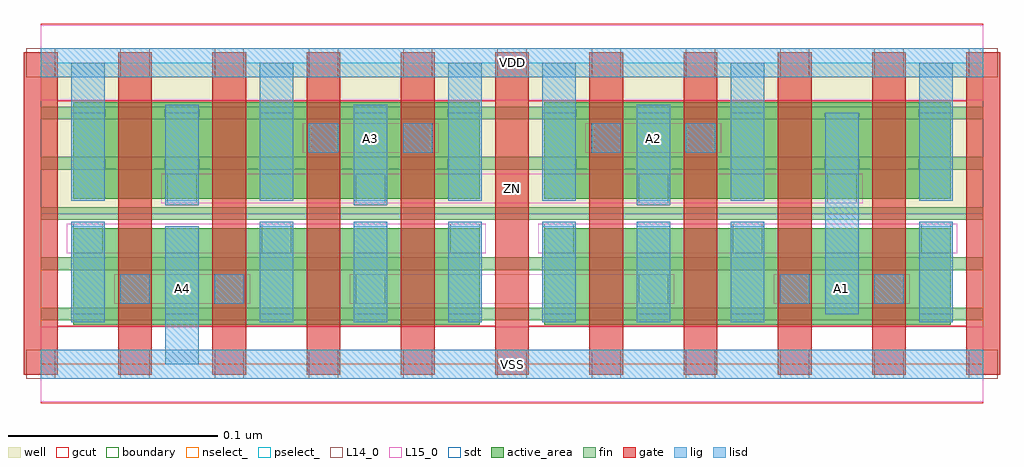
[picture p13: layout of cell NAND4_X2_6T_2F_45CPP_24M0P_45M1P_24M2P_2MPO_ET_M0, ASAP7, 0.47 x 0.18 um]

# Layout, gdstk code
import gdstk
lib = gdstk.Library(unit=1e-6, precision=2.5e-10)
def R(c, l, rs):  # rectangles x0, y0, x1, y1
    for r in rs: c.add(gdstk.rectangle(r[:2], r[2:], *l))
def A(c, l, x, y, w, h, nx, ny, dx, dy):  # array of equal rectangles
    R(c, l, [(x+i*dx, y+j*dy, x+i*dx+w, y+j*dy+h) for i in range(nx) for j in range(ny)])
well = (1, 0)
fin = (2, 0)
gate = (7, 0)
gcut = (10, 0)
active_area = (11, 0)
nselect_ = (12, 0)
pselect_ = (13, 0)
L14_0 = (14, 0)
L15_0 = (15, 0)
lig = (16, 0)
lisd = (17, 0)
sdt = (88, 0)
boundary = (100, 0)

nand4_x2_6t_2f_45cpp_24m = lib.new_cell('NAND4_X2_6T_2F_45CPP_24M0P_45M1P_24M2P_2MPO_ET_M0')
R(nand4_x2_6t_2f_45cpp_24m, well, [(0,0.072,0.45,0.144)])
A(nand4_x2_6t_2f_45cpp_24m, fin, 0, 0.021, 0.45, 0.006, 1, 5, 0, 0.024)
A(nand4_x2_6t_2f_45cpp_24m, gate, -0.008, -0.005, 0.016, 0.154, 11, 1, 0.045, 0)
A(nand4_x2_6t_2f_45cpp_24m, gcut, -0.008, -0.005, 0.016, 0.154, 3, 1, 0.225, 0)
R(nand4_x2_6t_2f_45cpp_24m, gcut, [(0,-0.0185,0.45,0.0185), (0,0.1255,0.45,0.1625)])
A(nand4_x2_6t_2f_45cpp_24m, active_area, 0.0155, 0.019, 0.059, 0.046, 4, 2, 0.045, 0.06)
A(nand4_x2_6t_2f_45cpp_24m, active_area, 0.2405, 0.019, 0.059, 0.046, 4, 2, 0.045, 0.06)
R(nand4_x2_6t_2f_45cpp_24m, nselect_, [(0,0,0.45,0.072)])
R(nand4_x2_6t_2f_45cpp_24m, pselect_, [(0,0.072,0.45,0.144)])
A(nand4_x2_6t_2f_45cpp_24m, L14_0, -0.007, -0.007, 0.014, 0.014, 11, 2, 0.045, 0.144)
A(nand4_x2_6t_2f_45cpp_24m, L14_0, 0.0155, 0.053, 0.014, 0.014, 3, 1, 0.09, 0)
A(nand4_x2_6t_2f_45cpp_24m, L14_0, 0.2405, 0.053, 0.014, 0.014, 3, 1, 0.09, 0)
R(nand4_x2_6t_2f_45cpp_24m, L14_0, [(0.038,0.029,0.052,0.043), (0.083,0.029,0.097,0.043), (0.1505,0.029,0.1645,0.043), (0.2855,0.029,0.2995,0.043), (0.353,0.029,0.367,0.043), (0.398,0.029,0.412,0.043), (0.0605,0.077,0.0745,0.091), (0.1505,0.077,0.1645,0.091), (0.2855,0.077,0.2995,0.091), (0.3755,0.077,0.3895,0.091), (0.128,0.101,0.142,0.115), (0.173,0.101,0.187,0.115), (0.263,0.101,0.277,0.115), (0.308,0.101,0.322,0.115)])
R(nand4_x2_6t_2f_45cpp_24m, L15_0, [(0,-0.018,0.45,0.018), (0.035,0.029,0.1,0.043), (0.1475,0.029,0.3025,0.043), (0.35,0.029,0.415,0.043), (0.0125,0.053,0.2125,0.067), (0.2375,0.053,0.4375,0.067), (0.0575,0.077,0.3925,0.091), (0.125,0.101,0.19,0.115), (0.26,0.101,0.325,0.115), (0,0.126,0.45,0.162)])
R(nand4_x2_6t_2f_45cpp_24m, lig, [(0,-0.007,0.45,0.007), (0.038,0.029,0.052,0.043), (0.083,0.029,0.097,0.043), (0.353,0.029,0.367,0.043), (0.398,0.029,0.412,0.043), (0.128,0.101,0.142,0.115), (0.173,0.101,0.187,0.115), (0.263,0.101,0.277,0.115), (0.308,0.101,0.322,0.115), (0,0.137,0.45,0.151)])
A(nand4_x2_6t_2f_45cpp_24m, lisd, 0.1045, 0.02, 0.016, 0.048, 6, 1, 0.045, 0)
A(nand4_x2_6t_2f_45cpp_24m, lisd, 0.0145, 0.078, 0.016, 0.066, 3, 1, 0.09, 0)
A(nand4_x2_6t_2f_45cpp_24m, lisd, 0.2395, 0.078, 0.016, 0.066, 3, 1, 0.09, 0)
R(nand4_x2_6t_2f_45cpp_24m, lisd, [(0.0595,0,0.0755,0.066), (0.0145,0.02,0.0305,0.068), (0.4195,0.02,0.4355,0.068), (0.3745,0.024,0.3905,0.12), (0.0595,0.076,0.0755,0.124), (0.1495,0.076,0.1655,0.124), (0.2845,0.076,0.3005,0.124)])
A(nand4_x2_6t_2f_45cpp_24m, sdt, 0.0145, 0.024, 0.016, 0.042, 8, 2, 0.045, 0.054)
R(nand4_x2_6t_2f_45cpp_24m, sdt, [(0.3745,0.024,0.3905,0.12), (0.4195,0.024,0.4355,0.066), (0.4195,0.078,0.4355,0.12)])
R(nand4_x2_6t_2f_45cpp_24m, boundary, [(0,0,0.45,0.144)])
nand4_x2_6t_2f_45cpp_24m.add(gdstk.Label('A3', (0.1575,0.108), layer=15, texttype=251))
nand4_x2_6t_2f_45cpp_24m.add(gdstk.Label('A2', (0.2925,0.108), layer=15, texttype=251))
nand4_x2_6t_2f_45cpp_24m.add(gdstk.Label('ZN', (0.225,0.084), layer=15, texttype=251))
nand4_x2_6t_2f_45cpp_24m.add(gdstk.Label('A4', (0.0675,0.036), layer=15, texttype=251))
nand4_x2_6t_2f_45cpp_24m.add(gdstk.Label('A1', (0.3825,0.036), layer=15, texttype=251))
nand4_x2_6t_2f_45cpp_24m.add(gdstk.Label('VDD', (0.225,0.144), layer=15, texttype=251))
nand4_x2_6t_2f_45cpp_24m.add(gdstk.Label('VSS', (0.225,0), layer=15, texttype=251))
nand4_x2_6t_2f_45cpp_24m.add(gdstk.Label('VDD', (0.225,0.144), layer=1, texttype=251))
nand4_x2_6t_2f_45cpp_24m.add(gdstk.Label('VSS', (0.225,0), layer=3, texttype=251))

lib.write_gds('NAND4_X2_6T_2F_45CPP_24M0P_45M1P_24M2P_2MPO_ET_M0.gds')
